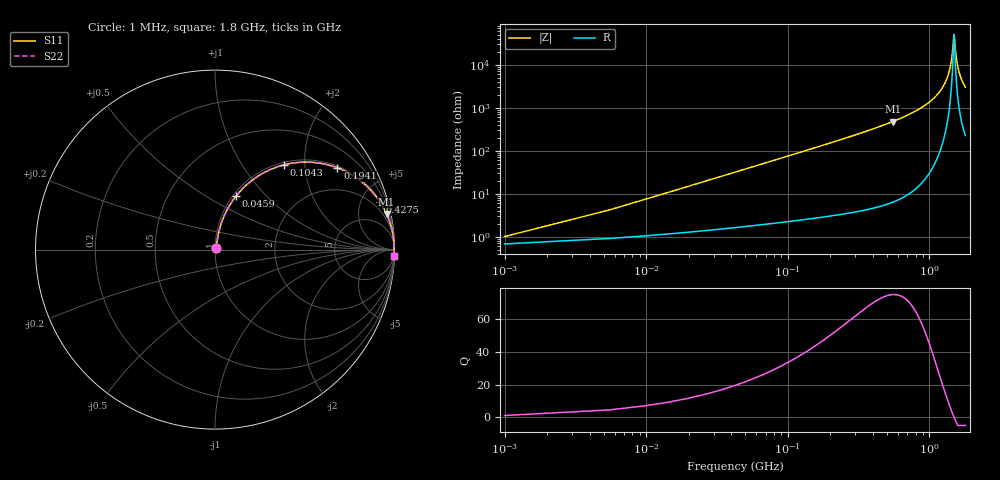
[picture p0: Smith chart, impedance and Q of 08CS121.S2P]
! Coilcraft 0805CS-121 Chip Inductor
! 11 June 2002
# MHZ S MA R 50
!Freq  MagS11  AngS11  MagS21  AngS21  MagS12  AngS12  MagS22  AngS22
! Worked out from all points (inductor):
!   402 points, 1 MHz to 1.8 GHz, reference 50 ohm
!   read as one part in series: L = 119 nH near 9.98 MHz
!   highest Q = 75 at 553.3 MHz (marker M1), where L = 138 nH
!   self-resonance near 1.496 GHz
!   S11 on the Smith chart (normalised r, x): 1 MHz: 1.01, +0.01; 45.9 MHz: 1.03, +0.69; 104.3 MHz: 1.05, +1.57; 194.1 MHz: 1.06, +2.95; 427.6 MHz: 1.10, +6.96; 1.8 GHz: 6, -60
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1  0.01005 47.2  0.9932 -0.4  0.9932 -0.4  0.01005 47.2
14.47  0.107 77.8  0.9829 -6.1  0.9829 -6.1  0.107 77.8
18.96  0.1392 77.0  0.978 -8.0  0.978 -8.0  0.1392 77.0
32.43  0.2329 73.0  0.9583 -13.4  0.9583 -13.4  0.2329 73.0
45.9  0.3205 68.5  0.9318 -18.7  0.9318 -18.7  0.3205 68.5
104.27  0.6083 50.9  0.7762 -37.4  0.7762 -37.4  0.6083 50.9
194.07  0.8202 33.7  0.5556 -55.1  0.5556 -55.1  0.8202 33.7
301.83  0.915 22.9  0.3889 -66.2  0.3889 -66.2  0.915 22.9
427.55  0.9576 16.0  0.2751 -73.2  0.2751 -73.2  0.9576 16.0
553.27  0.9763 11.8  0.2038 -77.5  0.2038 -77.5  0.9763 11.8
602.66  0.9808 10.5  0.1824 -78.7  0.1824 -78.7  0.9808 10.5
903.49  0.9939 5.4  0.09354 -83.6  0.09354 -83.6  0.9939 5.4
1204.32  0.9976 2.2  0.03911 -85.3  0.03911 -85.3  0.9976 2.2
1316.57  0.998 1.3  0.02303 -84.3  0.02303 -84.3  0.998 1.3
1392.9  0.9981 0.7  0.013 -81.2  0.013 -81.2  0.9981 0.7
1437.8  0.9981 0.4  0.007443 -74.9  0.007443 -74.9  0.9981 0.4
1487.19  0.998 0.1  0.002278 -31.0  0.002278 -31.0  0.998 0.1
1500.66  0.998 -0.0  0.002016 12.3  0.002016 12.3  0.998 -0.0
1550.05  0.9979 -0.4  0.006531 71.4  0.006531 71.4  0.9979 -0.4
1599.44  0.9978 -0.7  0.01199 79.2  0.01199 79.2  0.9978 -0.7
1684.75  0.9975 -1.2  0.02122 82.7  0.02122 82.7  0.9975 -1.2
1800  0.997 -1.9  0.03309 83.8  0.03309 83.8  0.997 -1.9
